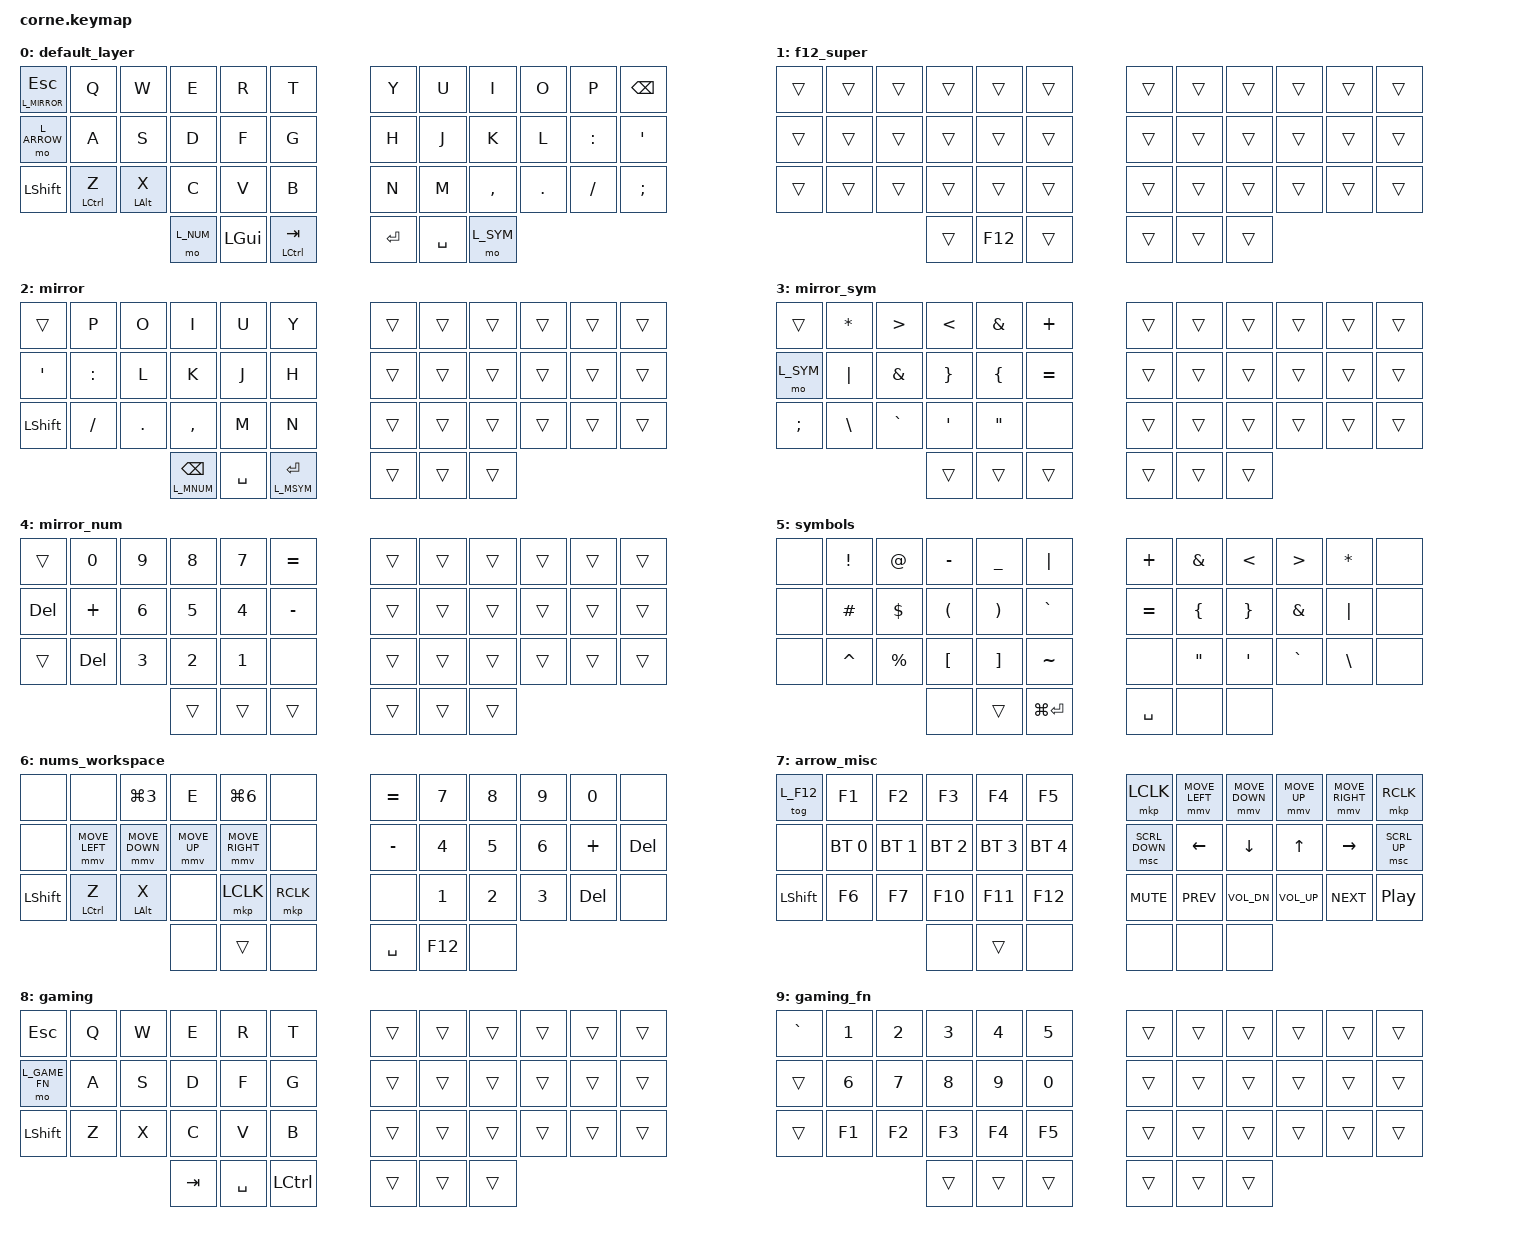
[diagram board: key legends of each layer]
/*
 * SPDX-License-Identifier: MIT
 */

// for mouse behaviour
// #define ZMK_POINTING_DEFAULT_MOVE_VAL 1500  // default: 600
#define ZMK_POINTING_DEFAULT_SCRL_VAL 30    // default: 10
#include <dt-bindings/zmk/pointing.h>

#include <behaviors.dtsi>
#include <dt-bindings/zmk/keys.h>
#include <dt-bindings/zmk/bt.h>

// Layer indexes. Order is precedence: a higher active layer wins.
// F12 sits low so the mirror stack can put SPACE on its thumb; the mirror
// layers sit below SYM so SYM can show its left half over them.
#define L_DEF   0
#define L_F12   1  // travel toggle: super thumb sends F12
#define L_MIRROR 2  // hold Esc: right-hand keys mirrored onto the left hand
#define L_MSYM  3  // mirror + inner thumb: right half of SYM, mirrored
#define L_MNUM  4  // mirror + outer thumb: right half of NUM, mirrored
#define L_SYM   5
#define L_NUM   6
#define L_ARROW 7
#define L_GAME  8
#define L_GAME_FN 9

// layer-taps: hold only when another key is pressed AND released inside the
// hold, so rolls stay taps; quick-tap lets a tap-then-hold repeat (BSPC).
&lt {
        flavor = "balanced";
        quick-tap-ms = <175>;
};

/ {
        combos {
                compatible = "zmk,combos";
                // clears ONLY the currently selected profile, and only the
                // keyboard's side of the bond -- also "forget" the keyboard on
                // the host, or it reconnects with stale keys and sits seeking.
                combo_bt_clear {
                        timeout-ms = <50>;
                        key-positions = <0 11>;
                        bindings = <&bt BT_CLR>;
                        layers = <L_ARROW>;
                };
                // nukes all five profiles at once, for when the stale bond is
                // on a slot other than the active one.
                combo_bt_clear_all {
                        timeout-ms = <50>;
                        key-positions = <11 35>;
                        bindings = <&bt BT_CLR_ALL>;
                        layers = <L_ARROW>;
                };
                combo_bootloader {
                        timeout-ms = <50>;
                        // top-left + bottom-right; 24 is Shift on this layer now
                        key-positions = <0 35>;
                        bindings = <&bootloader>;
                        layers = <L_ARROW>;
                };
                combo_sys_reset {
                        timeout-ms = <50>;
                        key-positions = <12 23>;
                        bindings = <&sys_reset>;
                        layers = <L_ARROW>;
                };
                // toggle the gaming layer: Y + BSPC (right/off-hand, no overlap
                // with the reset combos; same combo also toggles it back off)
                combo_gaming_toggle {
                        timeout-ms = <50>;
                        key-positions = <6 11>;
                        bindings = <&tog L_GAME>;
                };
        };

        conditional_layers {
                compatible = "zmk,conditional-layers";
                mirror_both_thumbs {
                        if-layers = <L_MSYM L_MNUM>;
                        then-layer = <L_SYM>;
                };
        };

        keymap {
                compatible = "zmk,keymap";

                default_layer {
                        bindings = <
   &lt L_MIRROR ESC &kp Q &kp W &kp E &kp R &kp T    &kp Y &kp U  &kp I  &kp O   &kp P    &kp BSPC
   &mo L_ARROW &kp A &kp S &kp D &kp F &kp G          &kp H    &kp J  &kp K     &kp L &kp COLON &kp SQT
   &kp LSHFT &mt LCTRL Z &mt LALT X &kp C &kp V &kp B  &kp N &kp M &kp COMMA &kp DOT &kp FSLH &kp SEMI
                &mo L_NUM &kp LGUI &mt LCTRL TAB    &kp ENTER &kp SPACE &mo L_SYM
                        >;
                };
                f12_super {
                        // transparent everywhere except the super(LGUI) thumb -> F12
                        bindings = <
   &trans &trans &trans &trans &trans &trans   &trans &trans &trans &trans &trans &trans
   &trans &trans &trans &trans &trans &trans   &trans &trans &trans &trans &trans &trans
   &trans &trans &trans &trans &trans &trans   &trans &trans &trans &trans &trans &trans
                  &trans &kp F12 &trans   &trans &trans &trans
                        >;
                };
                mirror {
                        // held on Esc. Left hand = right hand in mirror image
                        // (same finger, same row: Q->P, A->:, Z->/). Shift stays
                        // put. Thumbs: outer tap BSPC / hold MNUM, middle SPACE,
                        // inner tap ENTER / hold MSYM. Right hand falls through.
                        bindings = <
   &trans &kp P    &kp O   &kp I     &kp U &kp Y   &trans &trans &trans &trans &trans &trans
   &kp SQT &kp COLON &kp L &kp K     &kp J &kp H   &trans &trans &trans &trans &trans &trans
   &kp LSHFT &kp FSLH &kp DOT &kp COMMA &kp M &kp N   &trans &trans &trans &trans &trans &trans
         &lt L_MNUM BSPC &kp SPACE &lt L_MSYM ENTER   &trans &trans &trans
                        >;
                };
                mirror_sym {
                        // SYM's right half, mirrored. Hold the key left of A (or
                        // both mirror thumbs) for SYM itself: the other symbol set.
                        bindings = <
   &trans   &kp ASTRK &kp GT &kp LT &kp AMPS &kp PLUS   &trans &trans &trans &trans &trans &trans
   &mo L_SYM  &kp PIPE &kp AMPS &kp RBRC &kp LBRC &kp EQUAL   &trans &trans &trans &trans &trans &trans
   &kp SEMI &kp BSLH &kp GRAVE &kp SQT &kp DQT &none   &trans &trans &trans &trans &trans &trans
                  &trans &trans &trans   &trans &trans &trans
                        >;
                };
                mirror_num {
                        // NUM's right half, mirrored: index finger 7/4/1, ring 9/6/3.
                        bindings = <
   &trans   &kp N0 &kp N9 &kp N8 &kp N7 &kp EQUAL   &trans &trans &trans &trans &trans &trans
   &kp DEL  &kp PLUS &kp N6 &kp N5 &kp N4 &kp MINUS   &trans &trans &trans &trans &trans &trans
   &trans   &kp DEL &kp N3 &kp N2 &kp N1 &none   &trans &trans &trans &trans &trans &trans
                  &trans &trans &trans   &trans &trans &trans
                        >;
                };
                symbols {
                        bindings = <
  &none &kp EXCL &kp AT &kp MINUS &kp UNDER &kp PIPE  &kp PLUS &kp AMPS &kp LT &kp GT &kp ASTRK &none
  &none &kp HASH &kp DLLR &kp LPAR &kp RPAR &kp GRAVE   &kp EQUAL &kp LBRC &kp RBRC &kp AMPS &kp PIPE &none
  &none &kp CARET &kp PRCNT &kp LBKT &kp RBKT &kp TILDE  &none &kp DQT &kp SQT &kp GRAVE &kp BSLH &none
      &none &trans &kp LG(ENTER)   &kp SPACE &none &none
                        >;
                };
                nums_workspace {
                        bindings = <
  &none &none  &kp LG(N3) &kp E &kp LG(N6) &none    &kp EQUAL &kp N7 &kp N8 &kp N9 &kp N0 &none
  &none &mmv MOVE_LEFT &mmv MOVE_DOWN &mmv MOVE_UP &mmv MOVE_RIGHT &none   &kp MINUS &kp N4 &kp N5 &kp N6 &kp PLUS &kp DEL
  &kp LSHFT &mt LCTRL Z &mt LALT X &none &mkp LCLK &mkp RCLK   &none &kp N1 &kp N2 &kp N3 &kp DEL &none
      &none &trans &none   &kp SPACE &kp F12 &none
                        >;
                };
                arrow_misc {
                        bindings = <
   &tog L_F12 &kp F1 &kp F2 &kp F3 &kp F4 &kp F5   &mkp LCLK &mmv MOVE_LEFT &mmv MOVE_DOWN &mmv MOVE_UP &mmv MOVE_RIGHT &mkp RCLK
   &none &bt BT_SEL 0 &bt BT_SEL 1 &bt BT_SEL 2 &bt BT_SEL 3 &bt BT_SEL 4     &msc SCRL_DOWN &kp LEFT &kp DOWN &kp UP &kp RIGHT &msc SCRL_UP
   &kp LSHFT &kp F6 &kp F7 &kp F10 &kp F11 &kp F12    &kp C_MUTE &kp C_PREV &kp C_VOL_DN &kp C_VOL_UP &kp C_NEXT &kp C_PP
      &none &trans &none   &none &none &none
                        >;
                };
                gaming {
                        // left hand = instant plain keys for WASD gaming (no mod-taps),
                        // middle-left thumb = SPACE (jump); right hand transparent (mouse hand).
                        // toggle on/off with the Y+BSPC combo. hold the key left of A
                        // for gaming_fn (numbers + F-keys); CTRL stays on the thumb.
                        bindings = <
   &kp ESC   &kp Q &kp W &kp E &kp R &kp T   &trans &trans &trans &trans &trans &trans
   &mo L_GAME_FN &kp A &kp S &kp D &kp F &kp G   &trans &trans &trans &trans &trans &trans
   &kp LSHFT &kp Z &kp X &kp C &kp V &kp B   &trans &trans &trans &trans &trans &trans
               &kp TAB &kp SPACE &kp LCTRL   &trans &trans &trans
                        >;
                };
                gaming_fn {
                        // held from the gaming layer: 1-5 over QWERT, 6-0 over ASDFG,
                        // F1-F5 over ZXCVB; thumbs and right hand fall through.
                        bindings = <
   &kp GRAVE &kp N1 &kp N2 &kp N3 &kp N4 &kp N5   &trans &trans &trans &trans &trans &trans
   &trans    &kp N6 &kp N7 &kp N8 &kp N9 &kp N0   &trans &trans &trans &trans &trans &trans
   &trans    &kp F1 &kp F2 &kp F3 &kp F4 &kp F5   &trans &trans &trans &trans &trans &trans
                        &trans &trans &trans      &trans &trans &trans
                        >;
                };

        };
};
